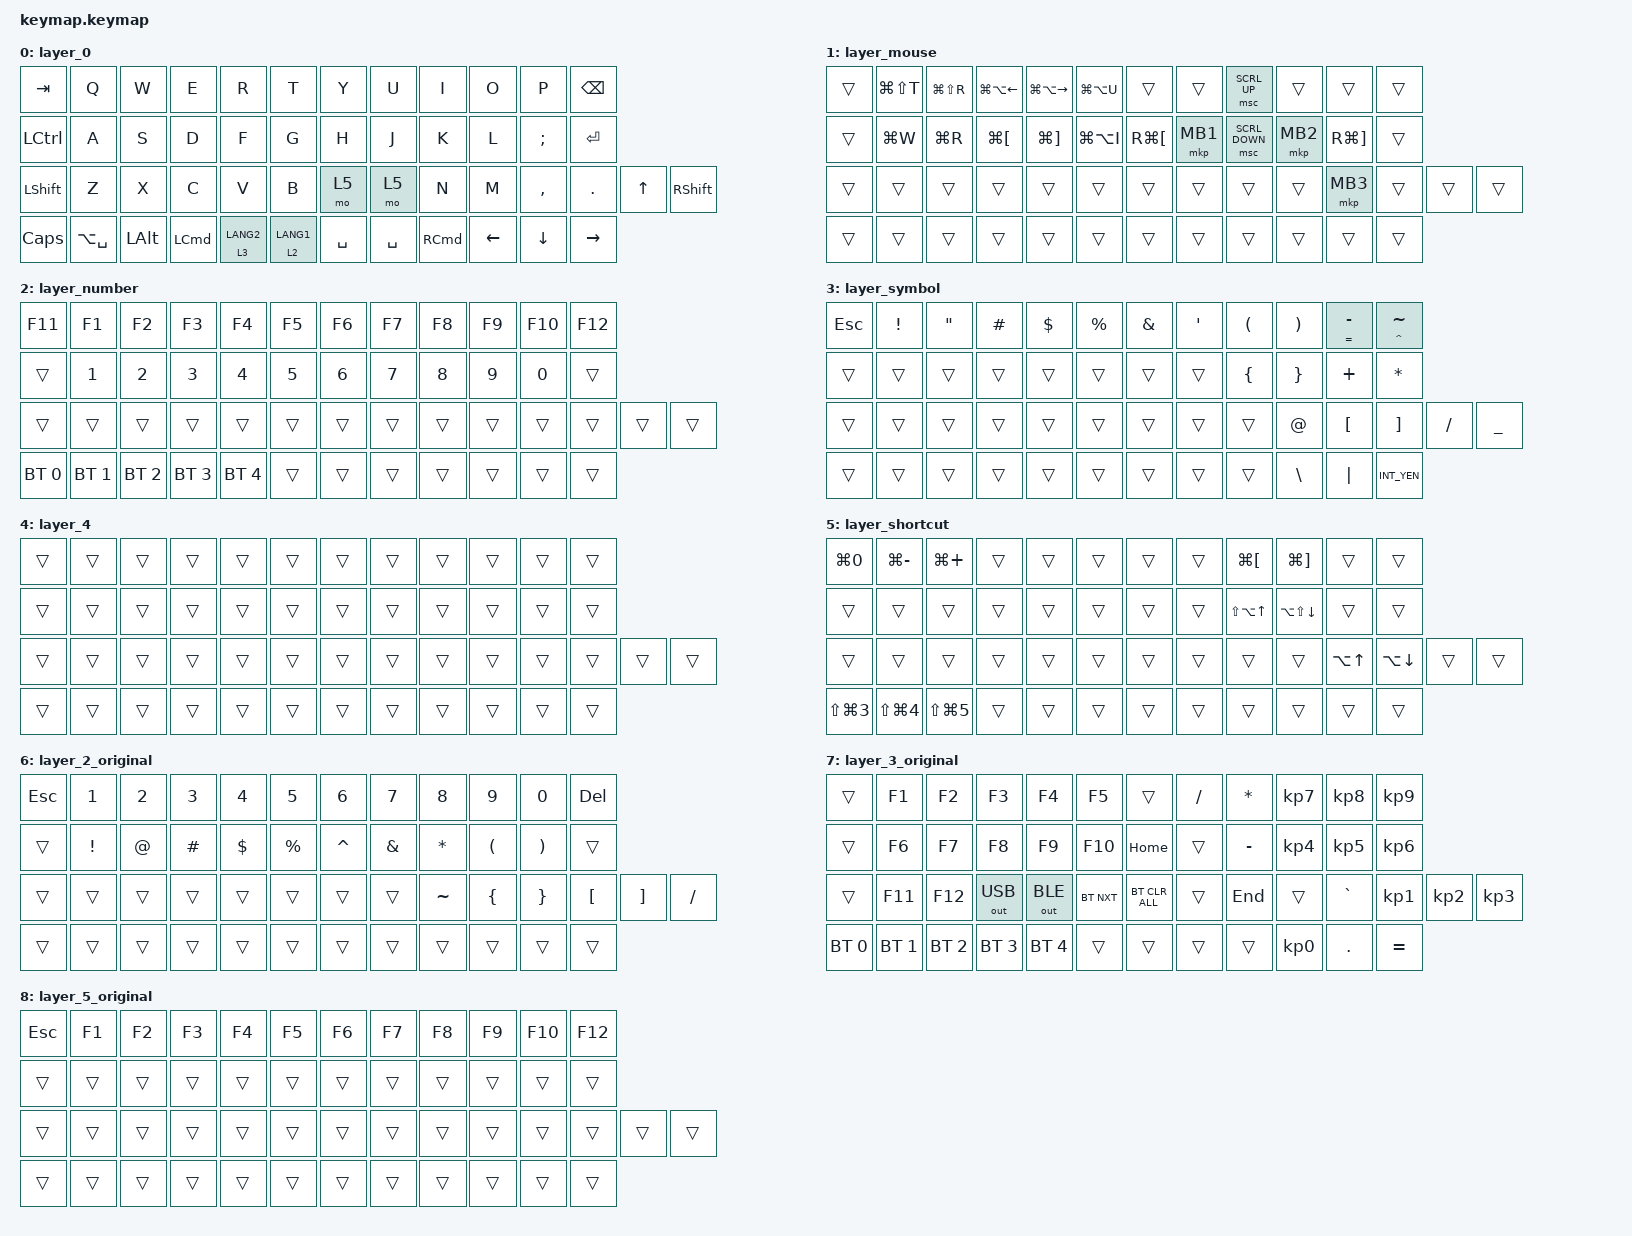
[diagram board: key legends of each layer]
#include <behaviors.dtsi>
#include <dt-bindings/zmk/bt.h>
#include <dt-bindings/zmk/keys.h>
#include <dt-bindings/zmk/outputs.h>
#include <dt-bindings/zmk/pointing.h>

/ {
    combos {
        compatible = "zmk,combos";

        bt_clear {
            bindings = <&bt BT_CLR>;
            key-positions = <29 28>;
            layers = <2>;
        };
    };

    keymap {
        compatible = "zmk,keymap";

        layer_0 {
            bindings = <
&kp TAB    &kp Q          &kp W         &kp E             &kp R        &kp T        &kp Y      &kp U      &kp I              &kp O           &kp P           &kp BSPC
&kp LCTRL  &kp A          &kp S         &kp D             &kp F        &kp G        &kp H      &kp J      &kp K              &kp L           &kp SEMI        &kp ENTER
&kp LSHFT  &kp Z          &kp X         &kp C             &kp V        &kp B        &mo 5      &mo 5      &kp N              &kp M           &kp COMMA       &kp DOT          &kp UP_ARROW  &kp RIGHT_SHIFT
&kp CAPS   &kp LA(SPACE)  &kp LEFT_ALT  &kp LEFT_COMMAND  &lt 3 LANG2  &lt 2 LANG1  &kp SPACE  &kp SPACE  &kp RIGHT_COMMAND  &kp LEFT_ARROW  &kp DOWN_ARROW  &kp RIGHT_ARROW
            >;
        };

        layer_mouse {
            bindings = <
&trans  &kp LG(LS(T))  &kp LG(LS(R))  &kp LG(LA(LEFT))      &kp LG(LA(RIGHT))      &kp LG(LA(U))  &trans                &trans    &msc SCRL_UP    &trans    &trans                 &trans
&trans  &kp LG(W)      &kp LG(R)      &kp LG(LEFT_BRACKET)  &kp LG(RIGHT_BRACKET)  &kp LG(LA(I))  &kp RG(LEFT_BRACKET)  &mkp MB1  &msc SCRL_DOWN  &mkp MB2  &kp RG(RIGHT_BRACKET)  &trans
&trans  &trans         &trans         &trans                &trans                 &trans         &trans                &trans    &trans          &trans    &mkp MB3               &trans  &trans  &trans
&trans  &trans         &trans         &trans                &trans                 &trans         &trans                &trans    &trans          &trans    &trans                 &trans
            >;
        };

        layer_number {
            bindings = <
&kp F11       &kp F1        &kp F2        &kp F3        &kp F4        &kp F5  &kp F6  &kp F7  &kp F8  &kp F9  &kp F10  &kp F12
&trans        &kp N1        &kp N2        &kp N3        &kp N4        &kp N5  &kp N6  &kp N7  &kp N8  &kp N9  &kp N0   &trans
&trans        &trans        &trans        &trans        &trans        &trans  &trans  &trans  &trans  &trans  &trans   &trans   &trans  &trans
&bt BT_SEL 0  &bt BT_SEL 1  &bt BT_SEL 2  &bt BT_SEL 3  &bt BT_SEL 4  &trans  &trans  &trans  &trans  &trans  &trans   &trans
            >;
        };

        layer_symbol {
            bindings = <
&kp ESCAPE  &kp EXCL  &kp DQT  &kp HASH  &kp DOLLAR  &kp PERCENT  &kp AMPERSAND  &kp SINGLE_QUOTE  &kp LEFT_PARENTHESIS  &kp RIGHT_PARENTHESIS  &mt EQUAL MINUS   &mt CARET TILDE
&trans      &trans    &trans   &trans    &trans      &trans       &trans         &trans            &kp LEFT_BRACE        &kp RIGHT_BRACE        &kp PLUS          &kp ASTERISK
&trans      &trans    &trans   &trans    &trans      &trans       &trans         &trans            &trans                &kp AT_SIGN            &kp LEFT_BRACKET  &kp RIGHT_BRACKET  &kp SLASH  &kp UNDERSCORE
&trans      &trans    &trans   &trans    &trans      &trans       &trans         &trans            &trans                &kp BACKSLASH          &kp PIPE          &kp INT_YEN
            >;
        };

        layer_4 {
            bindings = <
&trans  &trans  &trans  &trans  &trans  &trans  &trans  &trans  &trans  &trans  &trans  &trans
&trans  &trans  &trans  &trans  &trans  &trans  &trans  &trans  &trans  &trans  &trans  &trans
&trans  &trans  &trans  &trans  &trans  &trans  &trans  &trans  &trans  &trans  &trans  &trans  &trans  &trans
&trans  &trans  &trans  &trans  &trans  &trans  &trans  &trans  &trans  &trans  &trans  &trans
            >;
        };

        layer_shortcut {
            bindings = <
&kp LG(NUMBER_0)  &kp LG(MINUS)   &kp LG(PLUS)    &trans  &trans  &trans  &trans  &trans  &kp LG(LEFT_BRACKET)  &kp LG(RIGHT_BRACKET)   &trans            &trans
&trans            &trans          &trans          &trans  &trans  &trans  &trans  &trans  &kp LS(LA(UP_ARROW))  &kp LA(LS(DOWN_ARROW))  &trans            &trans
&trans            &trans          &trans          &trans  &trans  &trans  &trans  &trans  &trans                &trans                  &kp LA(UP_ARROW)  &kp LA(DOWN_ARROW)  &trans  &trans
&kp LS(LG(N3))    &kp LS(LG(N4))  &kp LS(LG(N5))  &trans  &trans  &trans  &trans  &trans  &trans                &trans                  &trans            &trans
            >;
        };

        layer_2_original {
            bindings = <
&kp ESCAPE  &kp N1    &kp N2  &kp N3    &kp N4      &kp N5     &kp N6     &kp N7         &kp N8     &kp N9                &kp N0                 &kp DELETE
&trans      &kp EXCL  &kp AT  &kp HASH  &kp DOLLAR  &kp PRCNT  &kp CARET  &kp AMPERSAND  &kp ASTRK  &kp LEFT_PARENTHESIS  &kp RIGHT_PARENTHESIS  &trans
&trans      &trans    &trans  &trans    &trans      &trans     &trans     &trans         &kp TILDE  &kp LEFT_BRACE        &kp RIGHT_BRACE        &kp LEFT_BRACKET  &kp RIGHT_BRACKET  &kp SLASH
&trans      &trans    &trans  &trans    &trans      &trans     &trans     &trans         &trans     &trans                &trans                 &trans
            >;
        };

        layer_3_original {
            bindings = <
&trans        &kp F1        &kp F2        &kp F3        &kp F4        &kp F5      &trans          &kp FSLH  &kp ASTRK  &kp KP_NUMBER_7  &kp KP_NUMBER_8  &kp KP_NUMBER_9
&trans        &kp F6        &kp F7        &kp F8        &kp F9        &kp F10     &kp HOME        &trans    &kp MINUS  &kp KP_NUMBER_4  &kp KP_NUMBER_5  &kp KP_NUMBER_6
&trans        &kp F11       &kp F12       &out OUT_USB  &out OUT_BLE  &bt BT_NXT  &bt BT_CLR_ALL  &trans    &kp END    &trans           &kp GRAVE        &kp KP_NUMBER_1  &kp KP_NUMBER_2  &kp KP_NUMBER_3
&bt BT_SEL 0  &bt BT_SEL 1  &bt BT_SEL 2  &bt BT_SEL 3  &bt BT_SEL 4  &trans      &trans          &trans    &trans     &kp KP_NUMBER_0  &kp DOT          &kp EQUAL
            >;
        };

        layer_5_original {
            bindings = <
&kp ESC  &kp F1  &kp F2  &kp F3  &kp F4  &kp F5  &kp F6  &kp F7  &kp F8  &kp F9  &kp F10  &kp F12
&trans   &trans  &trans  &trans  &trans  &trans  &trans  &trans  &trans  &trans  &trans   &trans
&trans   &trans  &trans  &trans  &trans  &trans  &trans  &trans  &trans  &trans  &trans   &trans   &trans  &trans
&trans   &trans  &trans  &trans  &trans  &trans  &trans  &trans  &trans  &trans  &trans   &trans
            >;
        };
    };
};
